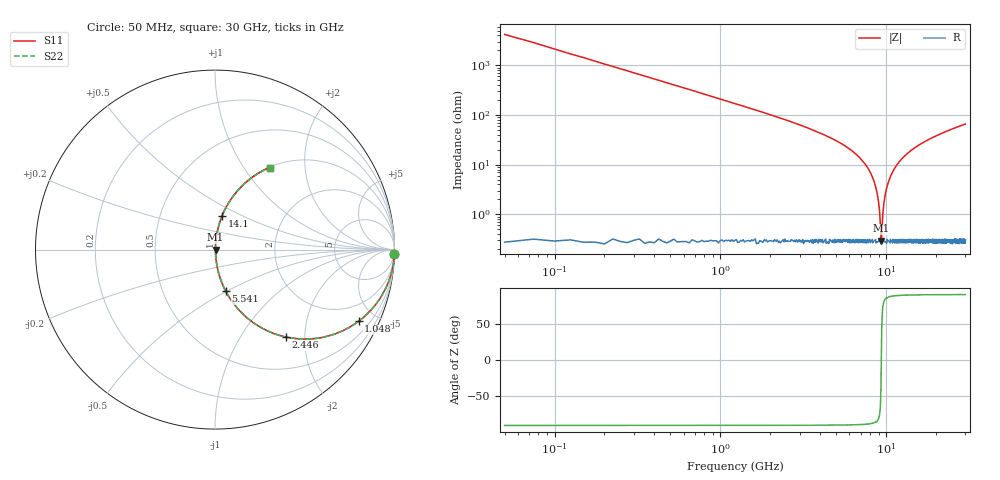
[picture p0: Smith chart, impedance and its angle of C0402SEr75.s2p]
!	AVX Thin Film Operation 	Date: April 2014
!	Description: Accu-P® Series, Thin Film  SMD RF Capacitor
!	Part Number: 04021JR75ZBSTR
# MHZ S MA R 50
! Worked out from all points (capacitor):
!   1201 points, 50 MHz to 30 GHz, reference 50 ohm
!   read as one part in series: C = 750 fF near 199.8 MHz
!   lowest |Z| = 296 mohm at 9.335 GHz (marker M1)
!   series resonance near 9.336 GHz, so ESL is about 390 pH
!   S11 on the Smith chart (normalised r, x): 50 MHz: -0, -85; 1.048 GHz: 1.00, -4.00; 2.446 GHz: 1.01, -1.62; 5.541 GHz: 1.01, -0.50; 14.1 GHz: 1.01, +0.39; 30 GHz: 1.01, +1.32
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50  1 -1.4  0.024 88.6  0.024 88.6  1 -1.4
249.667  0.993 -6.7  0.117 83.3  0.117 83.3  0.993 -6.7
399.417  0.983 -10.7  0.185 79.3  0.185 79.3  0.983 -10.7
1048.333  0.894 -26.6  0.447 63.4  0.447 63.4  0.894 -26.6
2446  0.627 -50.9  0.776 38.9  0.776 38.9  0.627 -50.9
5041.667  0.285 -72.9  0.956 16.6  0.956 16.6  0.285 -72.9
5540.833  0.24 -75.4  0.968 13.9  0.968 13.9  0.24 -75.4
7262.958  0.114 -82.0  0.991 6.6  0.991 6.6  0.114 -82.0
8311.208  0.053 -83.8  0.996 3.0  0.996 3.0  0.053 -83.8
8860.292  0.024 -81.7  0.997 1.4  0.997 1.4  0.024 -81.7
9035  0.015 -78.1  0.997 0.9  0.997 0.9  0.015 -78.1
9234.667  0.005749 -59.5  0.997 0.3  0.997 0.3  0.005749 -59.5
9334.5  0.002894 -1.9  0.997 0.0  0.997 0.0  0.002894 -1.9
9434.333  0.005542 58.3  0.997 -0.3  0.997 -0.3  0.005542 58.3
9708.875  0.018 79.7  0.997 -1.0  0.997 -1.0  0.018 79.7
10058.29  0.034 83.2  0.997 -1.9  0.997 -1.9  0.034 83.2
11480.92  0.094 82.9  0.993 -5.4  0.993 -5.4  0.094 82.9
14101.54  0.189 78.3  0.979 -10.9  0.979 -10.9  0.189 78.3
15025  0.218 76.6  0.973 -12.6  0.973 -12.6  0.218 76.6
20016.67  0.355 68.7  0.932 -20.8  0.932 -20.8  0.355 68.7
25033.29  0.464 62.1  0.884 -27.6  0.884 -27.6  0.464 62.1
30000  0.549 56.4  0.833 -33.3  0.833 -33.3  0.549 56.4
